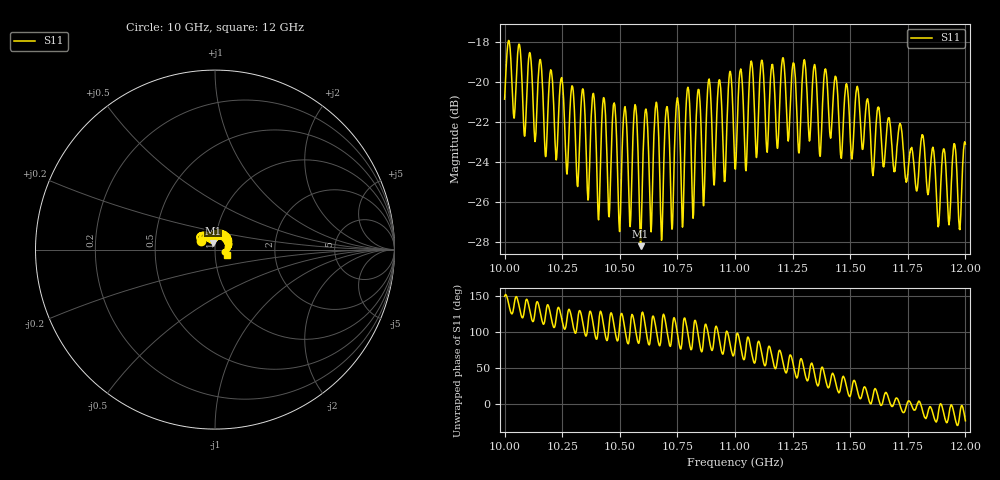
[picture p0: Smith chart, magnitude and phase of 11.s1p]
[Version] 2.0
! Rohde & Schwarz Vector Network Analyzer
! Rohde-Schwarz,ZNL20-2Port,1323001220200009,1.71.1.10-23.02.1.238
! Port Assignments:
! Nominal Port -> Actual Test Port
!  1 -> 1
! Created: GMT 2024-09-04 12:01:33
# Hz S DB R 50
[Number of Ports] 1
! freq[Hz]  S11[mag dB]  S11[ang]
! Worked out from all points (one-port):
!   2001 points, 10 GHz to 12 GHz, reference 50 ohm
!   lowest |S11| = -28.2 dB at 10.59 GHz (marker M1), VSWR 1.08, Z = 48.8 + j3.67 ohm
!   |S11| at or under -10 dB: start of sweep to end of sweep
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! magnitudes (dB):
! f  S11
! 10 GHz  -20.8
! 10.25 GHz  -19.9
! 10.36 GHz  -25.9
! 10.39 GHz  -20.6
! 10.41 GHz  -26.9
! 10.48 GHz  -21.0
! 10.5 GHz  -27.3
! 10.57 GHz  -21.1
! 10.59 GHz  -28.2
! 10.61 GHz  -21.4
! 10.64 GHz  -27.5
! 10.66 GHz  -21.0
! 10.68 GHz  -27.8
! 10.75 GHz  -20.8
! 10.77 GHz  -27.2
! 10.79 GHz  -20.2
! 10.82 GHz  -26.8
! 10.89 GHz  -19.8
! 11 GHz  -24.3
! 11.02 GHz  -19.4
! 11.05 GHz  -24.4
! 11.07 GHz  -18.9
! 11.09 GHz  -23.8
! 11.25 GHz  -19.2
! 11.5 GHz  -22.7
! 11.75 GHz  -24.6
! 11.97 GHz  -27.3
! 12 GHz  -23.1
